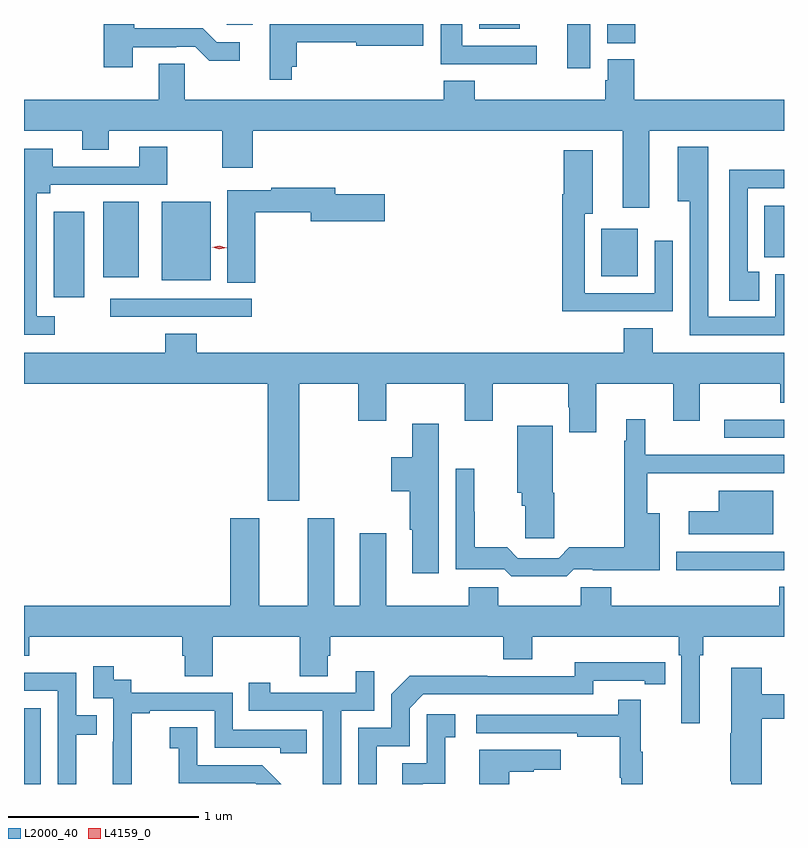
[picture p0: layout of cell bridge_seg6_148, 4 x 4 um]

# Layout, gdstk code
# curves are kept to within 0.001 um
import gdstk
lib = gdstk.Library(unit=1e-6, precision=1e-09)
def R(c, l, rs):  # rectangles x0, y0, x1, y1
    for r in rs: c.add(gdstk.rectangle(r[:2], r[2:], *l))
def P(c, l, *ps):  # polygons
    for p in ps: c.add(gdstk.Polygon(p, *l))
L2000_40 = (2000, 40)
L4159_0 = (4159, 0)

bridge_seg6_148 = lib.new_cell('bridge_seg6_148')
R(bridge_seg6_148, L2000_40, [(540.569,926.582,540.657,926.982), (544.254,928.404,544.569,928.5), (541.023,929.04,541.768,929.136), (540.725,929.145,540.886,929.593), (541.295,929.234,541.552,929.647), (540.986,929.249,541.174,929.647), (543.608,929.255,543.799,929.505), (544.466,929.354,544.569,929.626), (543.428,930.348,543.55,930.582), (543.638,930.481,543.785,930.582), (542.966,930.557,543.178,930.582), (541.635,930.579,541.774,930.582)])
P(bridge_seg6_148, L2000_40, [(541.141,930.459),(541.37,930.459),(541.37,930.462),(541.47,930.462),(541.543,930.389),(541.705,930.389),(541.705,930.486),(541.584,930.486),(541.511,930.559),(541.149,930.559),(541.149,930.582),(540.989,930.582),(540.989,930.354),(541.141,930.354)],
  [(541.979,930.356),(542.004,930.356),(542.004,930.486),(542.318,930.486),(542.318,930.467),(542.671,930.467),(542.671,930.582),(541.863,930.582),(541.863,930.288),(541.979,930.288)],
  [(543.268,930.468),(542.875,930.468),(542.875,930.582),(542.762,930.582),(542.762,930.371),(543.268,930.371)],
  [(541.416,930.374),(541.277,930.374),(541.277,930.184),(540.569,930.184),(540.569,930.02),(540.875,930.02),(540.875,929.921),(541.015,929.921),(541.015,930.02),(541.612,930.02),(541.612,929.826),(541.772,929.826),(541.772,930.02),(543.719,930.02),(543.719,929.616),(543.859,929.616),(543.859,930.02),(544.569,930.02),(544.569,930.184),(543.782,930.184),(543.782,930.396),(543.641,930.396),(543.641,930.285),(543.629,930.285),(543.629,930.184),(542.942,930.184),(542.942,930.283),(542.777,930.283),(542.777,930.184),(541.416,930.184)],
  [(540.73,929.043),(540.636,929.043),(540.636,929.69),(540.706,929.69),(540.706,929.736),(541.323,929.736),(541.323,929.935),(541.175,929.935),(541.175,929.832),(540.721,929.832),(540.721,929.926),(540.569,929.926),(540.569,928.947),(540.73,928.947)],
  [(544.569,929.265),(544.524,929.265),(544.524,929.04),(544.17,929.04),(544.17,929.935),(544.01,929.935),(544.01,929.648),(544.074,929.648),(544.074,928.944),(544.569,928.944)],
  [(543.641,929.07),(543.984,929.07),(543.984,929.44),(543.888,929.44),(543.888,929.166),(543.519,929.166),(543.519,929.583),(543.562,929.583),(543.562,929.917),(543.41,929.917),(543.41,929.686),(543.403,929.686),(543.403,929.069),(543.641,929.069)],
  [(544.439,929.277),(544.377,929.277),(544.377,929.718),(544.569,929.718),(544.569,929.814),(544.496,929.814),(544.496,929.816),(544.281,929.816),(544.281,929.125),(544.439,929.125)],
  [(541.787,929.59),(542.078,929.59),(542.078,929.543),(542.467,929.543),(542.467,929.685),(542.206,929.685),(542.206,929.719),(541.87,929.719),(541.87,929.706),(541.64,929.706),(541.64,929.221),(541.787,929.221)],
  [(542.017,928.688),(542.329,928.688),(542.329,928.494),(542.476,928.494),(542.476,928.688),(542.888,928.688),(542.888,928.494),(543.036,928.494),(543.036,928.688),(543.433,928.688),(543.433,928.564),(543.44,928.564),(543.44,928.434),(543.58,928.434),(543.58,928.688),(543.986,928.688),(543.986,928.494),(544.126,928.494),(544.126,928.688),(544.549,928.688),(544.549,928.589),(544.569,928.589),(544.569,928.852),(543.877,928.852),(543.877,928.981),(543.725,928.981),(543.725,928.852),(541.478,928.852),(541.478,928.951),(541.313,928.951),(541.313,928.852),(540.569,928.852),(540.569,928.688),(541.853,928.688),(541.853,928.074),(542.017,928.074)],
  [(543.462,927.711),(543.562,927.711),(543.562,927.707),(543.916,927.707),(543.916,928.006),(543.85,928.006),(543.85,928.217),(544.569,928.218),(544.569,928.314),(543.838,928.315),(543.838,928.501),(543.74,928.501),(543.74,928.388),(543.729,928.388),(543.729,927.827),(543.44,927.827),(543.384,927.771),(543.168,927.771),(543.113,927.827),(542.942,927.827),(542.942,928.014),(542.94,928.014),(542.94,928.24),(542.841,928.24),(542.841,927.711),(543.096,927.711),(543.133,927.675),(543.426,927.675)],
  [(542.752,928.477),(542.612,928.477),(542.612,928.302),(542.501,928.302),(542.501,928.124),(542.6,928.124),(542.6,927.921),(542.612,927.921),(542.612,927.69),(542.752,927.69)],
  [(543.36,928.116),(543.352,928.116),(543.352,928.468),(543.164,928.468),(543.164,928.116),(543.188,928.116),(543.188,928.047),(543.206,928.047),(543.206,927.876),(543.36,927.876)],
  [(544.513,928.126),(544.226,928.126),(544.226,928.018),(544.068,928.018),(544.068,927.896),(544.513,927.896)],
  [(544.126,927.26),(544.145,927.26),(544.145,927.356),(544.569,927.356),(544.569,927.619),(544.544,927.619),(544.544,927.52),(543.659,927.52),(543.659,927.618),(543.499,927.618),(543.499,927.52),(543.066,927.52),(543.066,927.618),(542.911,927.618),(542.911,927.52),(542.476,927.52),(542.476,927.901),(542.336,927.901),(542.336,927.52),(542.203,927.52),(542.203,927.982),(542.063,927.982),(542.063,927.52),(541.807,927.52),(541.807,927.982),(541.655,927.982),(541.655,927.52),(540.569,927.52),(540.569,927.257),(540.596,927.257),(540.596,927.356),(541.403,927.356),(541.403,927.258),(541.415,927.258),(541.415,927.148),(541.563,927.148),(541.563,927.356),(542.02,927.356),(542.02,927.148),(542.167,927.148),(542.167,927.258),(542.18,927.258),(542.18,927.356),(543.092,927.356),(543.092,927.239),(543.244,927.239),(543.244,927.356),(544.016,927.356),(544.016,927.26),(544.029,927.26),(544.029,926.901),(544.126,926.901)],
  [(544.46,927.708),(544.569,927.708),(544.569,927.804),(544.001,927.804),(544.001,927.707),(544.46,927.707)],
  [(542.425,926.781),(542.598,926.781),(542.598,926.982),(542.67,927.054),(543.564,927.054),(543.564,927.126),(543.836,927.126),(543.836,927.106),(543.944,927.106),(543.944,927.222),(543.468,927.223),(543.468,927.15),(543.008,927.15),(543.008,927.152),(542.6,927.152),(542.502,927.054),(542.502,926.877),(542.328,926.877),(542.328,926.582),(542.425,926.582)],
  [(541.137,926.671),(541.136,926.671),(541.136,926.955),(541.231,926.955),(541.231,926.967),(541.572,926.967),(541.572,926.772),(541.917,926.772),(541.917,926.745),(542.057,926.745),(542.057,926.868),(541.668,926.868),(541.668,927.063),(541.134,927.063),(541.134,927.132),(541.042,927.132),(541.042,927.202),(540.933,927.202),(540.933,927.033),(541.038,927.033),(541.038,926.804),(541.037,926.804),(541.037,926.582),(541.137,926.582)],
  [(544.451,926.926),(544.569,926.926),(544.569,927.055),(544.451,927.055),(544.451,927.193),(544.292,927.193),(544.292,926.849),(544.285,926.849),(544.285,926.596),(544.292,926.596),(544.292,926.582),(544.451,926.582)],
  [(542.238,926.967),(542.412,926.967),(542.412,927.175),(542.315,927.175),(542.315,927.063),(541.864,927.063),(541.864,927.115),(541.753,927.115),(541.753,926.967),(542.142,926.967),(542.142,926.582),(542.238,926.582)],
  [(540.843,926.842),(540.953,926.842),(540.953,926.943),(540.843,926.943),(540.843,927.168),(540.569,927.168),(540.569,927.072),(540.747,927.072),(540.747,926.582),(540.843,926.582)],
  [(543.826,926.753),(543.815,926.753),(543.815,927.025),(543.697,927.025),(543.697,926.946),(542.949,926.946),(542.949,926.85),(543.481,926.85),(543.481,926.83),(543.705,926.83),(543.705,926.616),(543.712,926.616),(543.712,926.582),(543.826,926.582)],
  [(542.668,926.583),(542.786,926.583),(542.786,926.829),(542.839,926.829),(542.839,926.95),(542.688,926.95),(542.688,926.691),(542.559,926.691),(542.559,926.582),(542.668,926.582)],
  [(541.824,926.682),(541.482,926.682),(541.482,926.881),(541.335,926.881),(541.335,926.771),(541.384,926.771),(541.384,926.586),(541.787,926.586),(541.791,926.582),(541.924,926.582)],
  [(543.124,926.647),(543.251,926.647),(543.251,926.657),(543.394,926.657),(543.394,926.761),(542.966,926.761),(542.966,926.582),(543.124,926.582)])
P(bridge_seg6_148, L4159_0, [(541.597,929.396),(541.559,929.406),(541.559,929.406),(541.559,929.406),(541.597,929.416),(541.635,929.405),(541.636,929.405),(541.635,929.405)])

lib.write_gds('bridge_seg6_148.gds')
